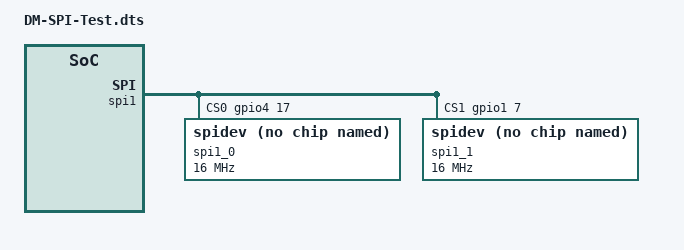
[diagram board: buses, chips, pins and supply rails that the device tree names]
/*  
* Copyright (C) 2012 Texas Instruments Incorporated - http://www.ti.com/
*
* This program is free software; you can redistribute it and/or modify
* it under the terms of the GNU General Purpose License Version 2 as
* published by the Free Software Foundation
*
* Original from: github.com/jadonk/validation-scripts/blob/master/test-capemgr/ 
*
* Modified by Derek Molloy for the example on www.derekmolloy.ie
* that maps GPIO pins for the example
*/

/dts-v1/;
/plugin/;

/{
       compatible = "ti,beaglebone", "ti,beaglebone-black";
       part-number = "DM-SPI-Test";
       version = "00A0";

       fragment@0 {
             target = <&am33xx_pinmux>;
            
             __overlay__ {
                  pinctrl_spi1: pinctrl_spi1_pins {
			pinctrl-single,pins = <
				
				0x190 0x13
				0x194 0x33
				0x198 0x13
				0x19C 0x13
				0x164 0x12

			>;
		  };
             };
       };

       fragment@1 {
		target = <&spi1>;
		__overlay__ {
			#address-cells = <1>;
			#size-cells = <0>;
			status = "okay";
			pinctrl-names = "default";
			pinctrl-0 = <&pinctrl_spi1>;
			cs-gpios = <&gpio4 17 0>, <&gpio1 7 0>;

			spi1_0{
				#address-cells = <1>;
				#size-cells = <0>;
				compatible = "spidev";
				reg = <0>;
				spi-max-frequency=<16000000>;
				spi-cpha;
			};
			spi1_1{
				#address-cells = <1>;
				#size-cells = <0>;
				compatible = "spidev";
				reg = <1>;
				spi-max-frequency=<16000000>;
			};

		};
	};
};
